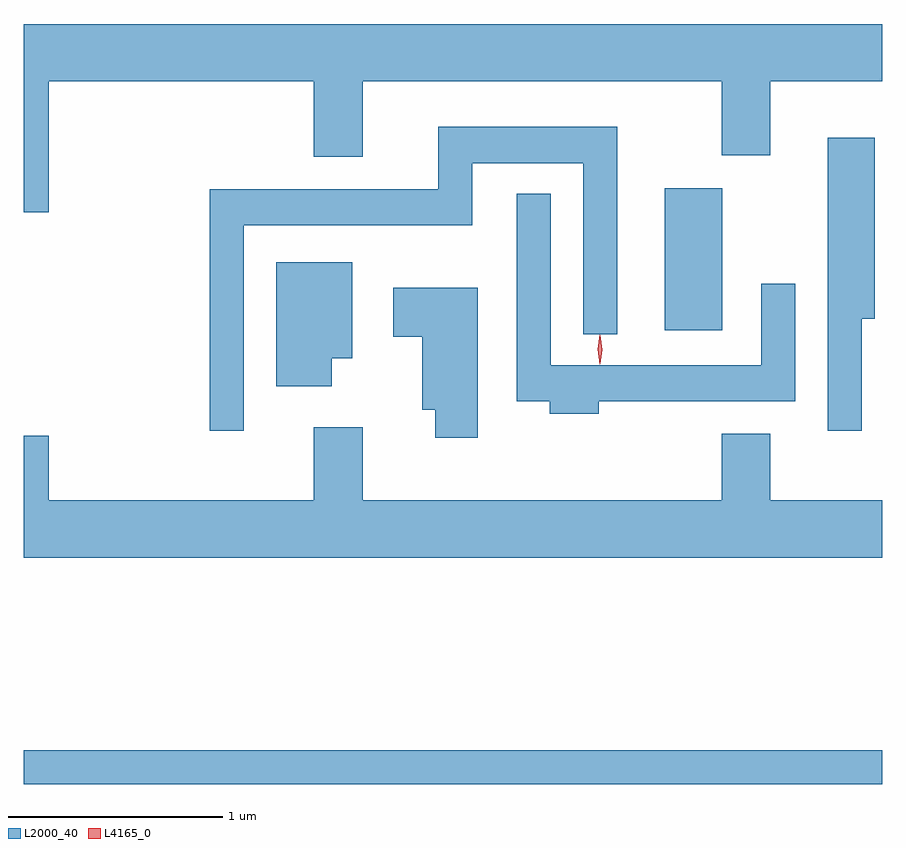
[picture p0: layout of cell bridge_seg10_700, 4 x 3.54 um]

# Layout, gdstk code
import gdstk
lib = gdstk.Library(unit=1e-6, precision=1e-09)
def R(c, l, rs):  # rectangles x0, y0, x1, y1
    for r in rs: c.add(gdstk.rectangle(r[:2], r[2:], *l))
def P(c, l, *ps):  # polygons
    for p in ps: c.add(gdstk.Polygon(p, *l))
L2000_40 = (2000, 40)
L4165_0 = (4165, 0)

bridge_seg10_700 = lib.new_cell('bridge_seg10_700')
R(bridge_seg10_700, L2000_40, [(894.549,2132.841,898.549,2132.999), (897.536,2134.956,897.804,2135.619)])
P(bridge_seg10_700, L2000_40, [(894.664,2136.116),(895.901,2136.116),(895.901,2135.766),(896.129,2135.766),(896.129,2136.116),(897.801,2136.116),(897.801,2135.771),(898.029,2135.771),(898.029,2136.116),(898.549,2136.116),(898.549,2136.384),(894.549,2136.384),(894.549,2135.506),(894.664,2135.506)],
  [(895.574,2135.446),(896.639,2135.446),(896.639,2135.736),(897.156,2135.736),(897.156,2134.938),(897.314,2134.938),(897.314,2135.904),(896.481,2135.904),(896.481,2135.614),(895.416,2135.614),(895.416,2134.488),(895.574,2134.488)],
  [(898.454,2135.011),(898.514,2135.011),(898.514,2135.854),(898.296,2135.854),(898.296,2134.488),(898.454,2134.488)],
  [(897.229,2134.626),(898.144,2134.626),(898.144,2135.173),(897.986,2135.173),(897.986,2134.794),(897.004,2134.794),(897.004,2135.593),(896.846,2135.593),(896.846,2134.626),(897.001,2134.626),(897.001,2134.566),(897.229,2134.566)],
  [(895.984,2134.826),(896.079,2134.826),(896.079,2135.274),(895.726,2135.274),(895.726,2134.696),(895.984,2134.696)],
  [(896.664,2135.154),(896.271,2135.154),(896.271,2134.926),(896.406,2134.926),(896.406,2134.586),(896.466,2134.586),(896.466,2134.456),(896.664,2134.456)],
  [(898.549,2134.164),(898.029,2134.164),(898.029,2134.474),(897.801,2134.474),(897.801,2134.164),(896.129,2134.164),(896.129,2134.504),(895.901,2134.504),(895.901,2134.164),(894.664,2134.164),(894.664,2134.464),(894.549,2134.464),(894.549,2133.896),(898.549,2133.896)])
P(bridge_seg10_700, L4165_0, [(897.235,2134.8),(897.235,2134.8),(897.225,2134.866),(897.235,2134.932),(897.235,2134.933),(897.236,2134.932),(897.245,2134.866),(897.236,2134.8)],
  [(897.233,2134.797),(897.232,2134.798),(897.223,2134.867),(897.232,2134.936),(897.233,2134.936),(897.233,2134.936),(897.243,2134.867),(897.233,2134.798)])

lib.write_gds('bridge_seg10_700.gds')
